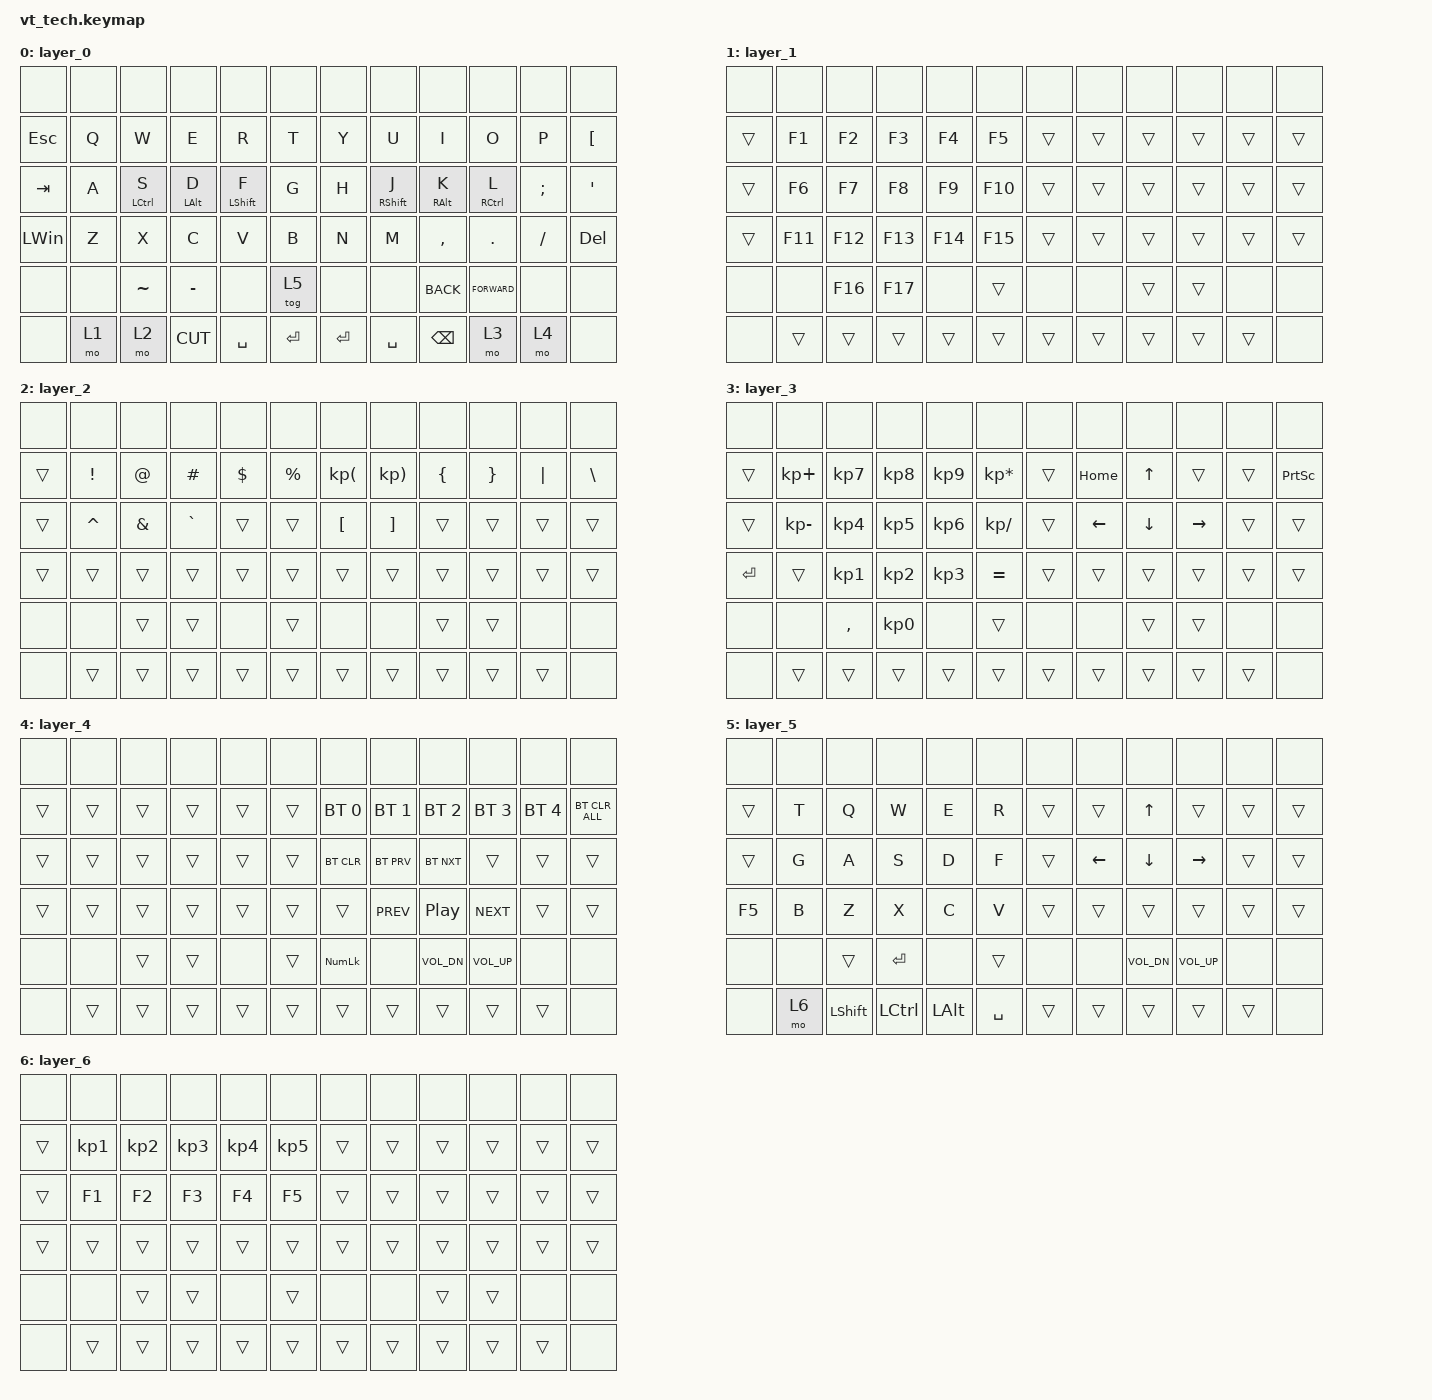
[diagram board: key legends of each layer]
#include <behaviors.dtsi>
#include <dt-bindings/zmk/bt.h>
#include <dt-bindings/zmk/keys.h>
#include <dt-bindings/zmk/outputs.h>

#define ZMK_POINTING_DEFAULT_MOVE_VAL 600  // default: 600
#define ZMK_POINTING_DEFAULT_SCRL_VAL 20    // default: 10     if CONFIG_ZMK_POINTING_SMOOTH_SCROLLING=y default 300


&mt {
    flavor = "tap-preferred";
    tapping-term-ms = <400>;
};

&lt {
    flavor = "balanced";
    tapping-term-ms = <150>;
};


/ {

    conditional_layers {
        compatible = "zmk,conditional-layers";
    };

    keymap {
            compatible = "zmk,keymap";

        layer_0 {
            bindings = <
&none         &none            &none        &none         &none         &none                 &none         &none              &none           &none             &none           &none
&kp ESC       &kp Q            &kp W        &kp E         &kp R         &kp T                 &kp Y         &kp U              &kp I           &kp O             &kp P           &kp LBKT
&kp TAB       &kp A            &mt LCTRL S  &mt LALT D    &mt LSHFT F   &kp G                 &kp H         &mt RSHFT J        &mt RALT K      &mt RCTRL L       &kp SEMI        &kp SQT
&kp LWIN      &kp Z            &kp X        &kp C         &kp V         &kp B                 &kp N         &kp M              &kp COMMA       &kp DOT           &kp FSLH        &kp DEL
&none         &none            &kp TILDE    &kp MINUS     &none         &tog 5                &none         &none              &kp K_BACK      &kp K_FORWARD     &none           &none
&none         &mo 1            &mo 2        &kp K_CUT     &kp SPACE     &kp ENTER             &kp ENTER     &kp SPACE          &kp BSPC        &mo 3             &mo 4           &none
            >;
        };

        layer_1 {
            bindings = <
&none         &none            &none        &none         &none         &none                 &none         &none              &none           &none             &none           &none
&trans        &kp F1           &kp F2       &kp F3        &kp F4        &kp F5                &trans        &trans             &trans          &trans            &trans          &trans
&trans        &kp F6           &kp F7       &kp F8        &kp F9        &kp F10                &trans        &trans             &trans          &trans            &trans          &trans
&trans        &kp F11          &kp F12      &kp F13       &kp F14       &kp F15                &trans        &trans             &trans          &trans            &trans          &trans
&none         &none            &kp F16      &kp F17       &none         &trans                 &none         &none              &trans          &trans            &none           &none
&none         &trans           &trans       &trans        &trans        &trans                &trans        &trans             &trans          &trans            &trans          &none
            >;
        };

        layer_2 {
            bindings = <
&none         &none            &none        &none         &none         &none                 &none         &none              &none           &none             &none           &none
&trans        &kp EXCL         &kp AT       &kp POUND     &kp DLLR      &kp PRCNT             &kp KP_LPAR   &kp KP_RPAR        &kp LBRC        &kp RBRC          &kp PIPE        &kp BACKSLASH
&trans        &kp CARET        &kp AMPS     &kp GRAVE     &trans        &trans                &kp LBKT      &kp RBKT           &trans          &trans            &trans          &trans
&trans        &trans           &trans       &trans        &trans        &trans                &trans        &trans             &trans          &trans            &trans          &trans
&none         &none            &trans       &trans        &none         &trans                &none         &none              &trans          &trans            &none           &none
&none         &trans           &trans       &trans        &trans        &trans                &trans        &trans             &trans          &trans            &trans          &none
            >;
        };

        layer_3 {
            bindings = <
&none         &none            &none        &none         &none         &none                 &none         &none              &none           &none             &none           &none
&trans        &kp KP_PLUS      &kp KP_N7    &kp KP_N8     &kp KP_N9     &kp KP_ASTERISK       &trans        &kp HOME           &kp UP          &trans            &trans          &kp PSCRN
&trans        &kp KP_MINUS     &kp KP_N4    &kp KP_N5     &kp KP_N6     &kp KP_SLASH          &trans        &kp LEFT           &kp DOWN        &kp RIGHT         &trans          &trans
&kp ENTER     &trans           &kp KP_N1    &kp KP_N2     &kp KP_N3     &kp EQUAL             &trans        &trans             &trans          &trans            &trans          &trans
&none         &none            &kp COMMA    &kp KP_N0     &none         &trans                &none         &none              &trans          &trans            &none           &none
&none         &trans           &trans       &trans        &trans        &trans                &trans        &trans             &trans          &trans            &trans          &none
            >;
        };

        layer_4 {
            bindings = <
&none         &none            &none        &none         &none         &none                 &none         &none              &none           &none             &none           &none
&trans        &trans           &trans       &trans        &trans        &trans                &bt BT_SEL 0  &bt BT_SEL 1       &bt BT_SEL 2    &bt BT_SEL 3      &bt BT_SEL 4    &bt BT_CLR_ALL
&trans        &trans           &trans       &trans        &trans        &trans                &bt BT_CLR    &bt BT_PRV         &bt BT_NXT      &trans            &trans          &trans
&trans        &trans           &trans       &trans        &trans        &trans                &trans        &kp C_PREV         &kp C_PP        &kp C_NEXT        &trans          &trans
&none         &none            &trans       &trans        &none         &trans                &kp KP_NUM    &none              &kp C_VOL_DN    &kp C_VOL_UP      &none           &none
&none         &trans           &trans       &trans        &trans        &trans                &trans        &trans             &trans          &trans            &trans          &none
            >;
        };

        layer_5 {
            bindings = <
&none         &none            &none        &none         &none         &none                 &none         &none              &none           &none             &none           &none
&trans        &kp T            &kp Q        &kp W         &kp E         &kp R                 &trans        &trans             &kp UP          &trans            &trans          &trans
&trans        &kp G            &kp A        &kp S         &kp D         &kp F                 &trans        &kp LEFT           &kp DOWN        &kp RIGHT         &trans          &trans
&kp F5        &kp B            &kp Z        &kp X         &kp C         &kp V                 &trans        &trans             &trans          &trans            &trans          &trans
&none         &none            &trans       &kp ENTER     &none         &trans                &none         &none              &kp C_VOL_DN    &kp C_VOL_UP      &none           &none
&none         &mo 6            &kp LSHFT    &kp LCTRL     &kp LALT      &kp SPACE             &trans        &trans             &trans          &trans            &trans          &none
            >;
        };

        layer_6 {
            bindings = <
&none         &none            &none        &none         &none         &none                 &none         &none              &none           &none             &none           &none
&trans        &kp KP_N1        &kp KP_N2    &kp KP_N3     &kp KP_N4     &kp KP_N5             &trans        &trans             &trans          &trans            &trans          &trans
&trans        &kp F1           &kp F2       &kp F3        &kp F4        &kp F5                &trans        &trans             &trans          &trans            &trans          &trans
&trans        &trans           &trans       &trans        &trans        &trans                &trans        &trans             &trans          &trans            &trans          &trans
&none         &none            &trans       &trans        &none         &trans                &none         &none              &trans          &trans            &none           &none
&none         &trans           &trans       &trans        &trans        &trans                &trans        &trans             &trans          &trans            &trans          &none
            >;
       };
    };
};
